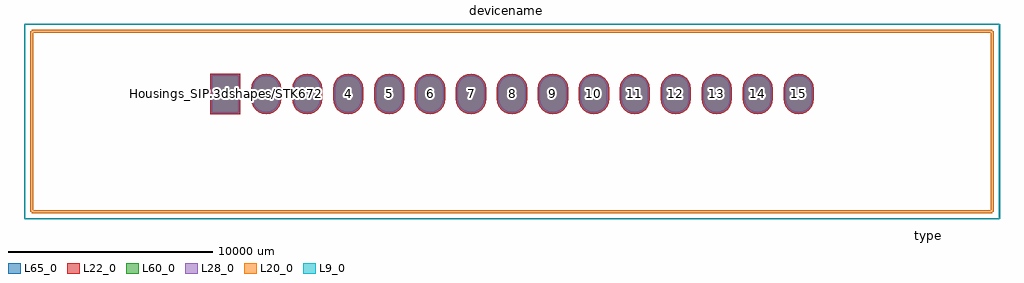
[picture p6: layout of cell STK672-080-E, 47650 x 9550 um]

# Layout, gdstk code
import gdstk
lib = gdstk.Library(unit=1e-6, precision=1e-09)
def R(c, l, rs):  # rectangles x0, y0, x1, y1
    for r in rs: c.add(gdstk.rectangle(r[:2], r[2:], *l))
def P(c, l, *ps):  # polygons
    for p in ps: c.add(gdstk.Polygon(p, *l))
L9_0 = (9, 0)
L20_0 = (20, 0)
L22_0 = (22, 0)
L28_0 = (28, 0)
L60_0 = (60, 0)
L65_0 = (65, 0)

stk672_080_e = lib.new_cell('STK672-080-E')
R(stk672_080_e, L22_0, [(-737,-987,737,987)])
P(stk672_080_e, L22_0, [(28000,-987),(28190.75,-961.887),(28368.5,-888.261),(28521.138,-771.138),(28638.261,-618.5),(28711.887,-440.75),(28737,-250),(28737,250),(28711.887,440.75),(28638.261,618.5),(28521.138,771.138),(28368.5,888.261),(28190.75,961.887),(28000,987),(27809.25,961.887),(27631.5,888.261),(27478.862,771.138),(27361.739,618.5),(27288.113,440.75),(27263,250),(27263,-250),(27288.113,-440.75),(27361.739,-618.5),(27478.862,-771.138),(27631.5,-888.261),(27809.25,-961.887)],
  [(26000,-987),(26190.75,-961.887),(26368.5,-888.261),(26521.138,-771.138),(26638.261,-618.5),(26711.887,-440.75),(26737,-250),(26737,250),(26711.887,440.75),(26638.261,618.5),(26521.138,771.138),(26368.5,888.261),(26190.75,961.887),(26000,987),(25809.25,961.887),(25631.5,888.261),(25478.862,771.138),(25361.739,618.5),(25288.113,440.75),(25263,250),(25263,-250),(25288.113,-440.75),(25361.739,-618.5),(25478.862,-771.138),(25631.5,-888.261),(25809.25,-961.887)],
  [(24000,-987),(24190.75,-961.887),(24368.5,-888.261),(24521.138,-771.138),(24638.261,-618.5),(24711.887,-440.75),(24737,-250),(24737,250),(24711.887,440.75),(24638.261,618.5),(24521.138,771.138),(24368.5,888.261),(24190.75,961.887),(24000,987),(23809.25,961.887),(23631.5,888.261),(23478.862,771.138),(23361.739,618.5),(23288.113,440.75),(23263,250),(23263,-250),(23288.113,-440.75),(23361.739,-618.5),(23478.862,-771.138),(23631.5,-888.261),(23809.25,-961.887)],
  [(22000,-987),(22190.75,-961.887),(22368.5,-888.261),(22521.138,-771.138),(22638.261,-618.5),(22711.887,-440.75),(22737,-250),(22737,250),(22711.887,440.75),(22638.261,618.5),(22521.138,771.138),(22368.5,888.261),(22190.75,961.887),(22000,987),(21809.25,961.887),(21631.5,888.261),(21478.862,771.138),(21361.739,618.5),(21288.113,440.75),(21263,250),(21263,-250),(21288.113,-440.75),(21361.739,-618.5),(21478.862,-771.138),(21631.5,-888.261),(21809.25,-961.887)],
  [(20000,-987),(20190.75,-961.887),(20368.5,-888.261),(20521.138,-771.138),(20638.261,-618.5),(20711.887,-440.75),(20737,-250),(20737,250),(20711.887,440.75),(20638.261,618.5),(20521.138,771.138),(20368.5,888.261),(20190.75,961.887),(20000,987),(19809.25,961.887),(19631.5,888.261),(19478.862,771.138),(19361.739,618.5),(19288.113,440.75),(19263,250),(19263,-250),(19288.113,-440.75),(19361.739,-618.5),(19478.862,-771.138),(19631.5,-888.261),(19809.25,-961.887)],
  [(18000,-987),(18190.75,-961.887),(18368.5,-888.261),(18521.138,-771.138),(18638.261,-618.5),(18711.887,-440.75),(18737,-250),(18737,250),(18711.887,440.75),(18638.261,618.5),(18521.138,771.138),(18368.5,888.261),(18190.75,961.887),(18000,987),(17809.25,961.887),(17631.5,888.261),(17478.862,771.138),(17361.739,618.5),(17288.113,440.75),(17263,250),(17263,-250),(17288.113,-440.75),(17361.739,-618.5),(17478.862,-771.138),(17631.5,-888.261),(17809.25,-961.887)],
  [(16000,-987),(16190.75,-961.887),(16368.5,-888.261),(16521.138,-771.138),(16638.261,-618.5),(16711.887,-440.75),(16737,-250),(16737,250),(16711.887,440.75),(16638.261,618.5),(16521.138,771.138),(16368.5,888.261),(16190.75,961.887),(16000,987),(15809.25,961.887),(15631.5,888.261),(15478.862,771.138),(15361.739,618.5),(15288.113,440.75),(15263,250),(15263,-250),(15288.113,-440.75),(15361.739,-618.5),(15478.862,-771.138),(15631.5,-888.261),(15809.25,-961.887)],
  [(14000,-987),(14190.75,-961.887),(14368.5,-888.261),(14521.138,-771.138),(14638.261,-618.5),(14711.887,-440.75),(14737,-250),(14737,250),(14711.887,440.75),(14638.261,618.5),(14521.138,771.138),(14368.5,888.261),(14190.75,961.887),(14000,987),(13809.25,961.887),(13631.5,888.261),(13478.862,771.138),(13361.739,618.5),(13288.113,440.75),(13263,250),(13263,-250),(13288.113,-440.75),(13361.739,-618.5),(13478.862,-771.138),(13631.5,-888.261),(13809.25,-961.887)],
  [(12000,-987),(12190.75,-961.887),(12368.5,-888.261),(12521.138,-771.138),(12638.261,-618.5),(12711.887,-440.75),(12737,-250),(12737,250),(12711.887,440.75),(12638.261,618.5),(12521.138,771.138),(12368.5,888.261),(12190.75,961.887),(12000,987),(11809.25,961.887),(11631.5,888.261),(11478.862,771.138),(11361.739,618.5),(11288.113,440.75),(11263,250),(11263,-250),(11288.113,-440.75),(11361.739,-618.5),(11478.862,-771.138),(11631.5,-888.261),(11809.25,-961.887)],
  [(10000,-987),(10190.75,-961.887),(10368.5,-888.261),(10521.138,-771.138),(10638.261,-618.5),(10711.887,-440.75),(10737,-250),(10737,250),(10711.887,440.75),(10638.261,618.5),(10521.138,771.138),(10368.5,888.261),(10190.75,961.887),(10000,987),(9809.25,961.887),(9631.5,888.261),(9478.862,771.138),(9361.739,618.5),(9288.113,440.75),(9263,250),(9263,-250),(9288.113,-440.75),(9361.739,-618.5),(9478.862,-771.138),(9631.5,-888.261),(9809.25,-961.887)],
  [(8000,-987),(8190.75,-961.887),(8368.5,-888.261),(8521.138,-771.138),(8638.261,-618.5),(8711.887,-440.75),(8737,-250),(8737,250),(8711.887,440.75),(8638.261,618.5),(8521.138,771.138),(8368.5,888.261),(8190.75,961.887),(8000,987),(7809.25,961.887),(7631.5,888.261),(7478.862,771.138),(7361.739,618.5),(7288.113,440.75),(7263,250),(7263,-250),(7288.113,-440.75),(7361.739,-618.5),(7478.862,-771.138),(7631.5,-888.261),(7809.25,-961.887)],
  [(6000,-987),(6190.75,-961.887),(6368.5,-888.261),(6521.138,-771.138),(6638.261,-618.5),(6711.887,-440.75),(6737,-250),(6737,250),(6711.887,440.75),(6638.261,618.5),(6521.138,771.138),(6368.5,888.261),(6190.75,961.887),(6000,987),(5809.25,961.887),(5631.5,888.261),(5478.862,771.138),(5361.739,618.5),(5288.113,440.75),(5263,250),(5263,-250),(5288.113,-440.75),(5361.739,-618.5),(5478.862,-771.138),(5631.5,-888.261),(5809.25,-961.887)],
  [(4000,-987),(4190.75,-961.887),(4368.5,-888.261),(4521.138,-771.138),(4638.261,-618.5),(4711.887,-440.75),(4737,-250),(4737,250),(4711.887,440.75),(4638.261,618.5),(4521.138,771.138),(4368.5,888.261),(4190.75,961.887),(4000,987),(3809.25,961.887),(3631.5,888.261),(3478.862,771.138),(3361.739,618.5),(3288.113,440.75),(3263,250),(3263,-250),(3288.113,-440.75),(3361.739,-618.5),(3478.862,-771.138),(3631.5,-888.261),(3809.25,-961.887)],
  [(2000,-987),(2190.75,-961.887),(2368.5,-888.261),(2521.138,-771.138),(2638.261,-618.5),(2711.887,-440.75),(2737,-250),(2737,250),(2711.887,440.75),(2638.261,618.5),(2521.138,771.138),(2368.5,888.261),(2190.75,961.887),(2000,987),(1809.25,961.887),(1631.5,888.261),(1478.862,771.138),(1361.739,618.5),(1288.113,440.75),(1263,250),(1263,-250),(1288.113,-440.75),(1361.739,-618.5),(1478.862,-771.138),(1631.5,-888.261),(1809.25,-961.887)])
R(stk672_080_e, L28_0, [(-662,-912,662,912)])
P(stk672_080_e, L28_0, [(28000,-912),(28171.338,-889.443),(28331,-823.309),(28468.105,-718.105),(28573.309,-581),(28639.443,-421.338),(28662,-250),(28662,250),(28639.443,421.338),(28573.309,581),(28468.105,718.105),(28331,823.309),(28171.338,889.443),(28000,912),(27828.662,889.443),(27669,823.309),(27531.895,718.105),(27426.691,581),(27360.557,421.338),(27338,250),(27338,-250),(27360.557,-421.338),(27426.691,-581),(27531.895,-718.105),(27669,-823.309),(27828.662,-889.443)],
  [(26000,-912),(26171.338,-889.443),(26331,-823.309),(26468.105,-718.105),(26573.309,-581),(26639.443,-421.338),(26662,-250),(26662,250),(26639.443,421.338),(26573.309,581),(26468.105,718.105),(26331,823.309),(26171.338,889.443),(26000,912),(25828.662,889.443),(25669,823.309),(25531.895,718.105),(25426.691,581),(25360.557,421.338),(25338,250),(25338,-250),(25360.557,-421.338),(25426.691,-581),(25531.895,-718.105),(25669,-823.309),(25828.662,-889.443)],
  [(24000,-912),(24171.338,-889.443),(24331,-823.309),(24468.105,-718.105),(24573.309,-581),(24639.443,-421.338),(24662,-250),(24662,250),(24639.443,421.338),(24573.309,581),(24468.105,718.105),(24331,823.309),(24171.338,889.443),(24000,912),(23828.662,889.443),(23669,823.309),(23531.895,718.105),(23426.691,581),(23360.557,421.338),(23338,250),(23338,-250),(23360.557,-421.338),(23426.691,-581),(23531.895,-718.105),(23669,-823.309),(23828.662,-889.443)],
  [(22000,-912),(22171.338,-889.443),(22331,-823.309),(22468.105,-718.105),(22573.309,-581),(22639.443,-421.338),(22662,-250),(22662,250),(22639.443,421.338),(22573.309,581),(22468.105,718.105),(22331,823.309),(22171.338,889.443),(22000,912),(21828.662,889.443),(21669,823.309),(21531.895,718.105),(21426.691,581),(21360.557,421.338),(21338,250),(21338,-250),(21360.557,-421.338),(21426.691,-581),(21531.895,-718.105),(21669,-823.309),(21828.662,-889.443)],
  [(20000,-912),(20171.338,-889.443),(20331,-823.309),(20468.105,-718.105),(20573.309,-581),(20639.443,-421.338),(20662,-250),(20662,250),(20639.443,421.338),(20573.309,581),(20468.105,718.105),(20331,823.309),(20171.338,889.443),(20000,912),(19828.662,889.443),(19669,823.309),(19531.895,718.105),(19426.691,581),(19360.557,421.338),(19338,250),(19338,-250),(19360.557,-421.338),(19426.691,-581),(19531.895,-718.105),(19669,-823.309),(19828.662,-889.443)],
  [(18000,-912),(18171.338,-889.443),(18331,-823.309),(18468.105,-718.105),(18573.309,-581),(18639.443,-421.338),(18662,-250),(18662,250),(18639.443,421.338),(18573.309,581),(18468.105,718.105),(18331,823.309),(18171.338,889.443),(18000,912),(17828.662,889.443),(17669,823.309),(17531.895,718.105),(17426.691,581),(17360.557,421.338),(17338,250),(17338,-250),(17360.557,-421.338),(17426.691,-581),(17531.895,-718.105),(17669,-823.309),(17828.662,-889.443)],
  [(16000,-912),(16171.338,-889.443),(16331,-823.309),(16468.105,-718.105),(16573.309,-581),(16639.443,-421.338),(16662,-250),(16662,250),(16639.443,421.338),(16573.309,581),(16468.105,718.105),(16331,823.309),(16171.338,889.443),(16000,912),(15828.662,889.443),(15669,823.309),(15531.895,718.105),(15426.691,581),(15360.557,421.338),(15338,250),(15338,-250),(15360.557,-421.338),(15426.691,-581),(15531.895,-718.105),(15669,-823.309),(15828.662,-889.443)],
  [(14000,-912),(14171.338,-889.443),(14331,-823.309),(14468.105,-718.105),(14573.309,-581),(14639.443,-421.338),(14662,-250),(14662,250),(14639.443,421.338),(14573.309,581),(14468.105,718.105),(14331,823.309),(14171.338,889.443),(14000,912),(13828.662,889.443),(13669,823.309),(13531.895,718.105),(13426.691,581),(13360.557,421.338),(13338,250),(13338,-250),(13360.557,-421.338),(13426.691,-581),(13531.895,-718.105),(13669,-823.309),(13828.662,-889.443)],
  [(12000,-912),(12171.338,-889.443),(12331,-823.309),(12468.105,-718.105),(12573.309,-581),(12639.443,-421.338),(12662,-250),(12662,250),(12639.443,421.338),(12573.309,581),(12468.105,718.105),(12331,823.309),(12171.338,889.443),(12000,912),(11828.662,889.443),(11669,823.309),(11531.895,718.105),(11426.691,581),(11360.557,421.338),(11338,250),(11338,-250),(11360.557,-421.338),(11426.691,-581),(11531.895,-718.105),(11669,-823.309),(11828.662,-889.443)],
  [(10000,-912),(10171.338,-889.443),(10331,-823.309),(10468.105,-718.105),(10573.309,-581),(10639.443,-421.338),(10662,-250),(10662,250),(10639.443,421.338),(10573.309,581),(10468.105,718.105),(10331,823.309),(10171.338,889.443),(10000,912),(9828.662,889.443),(9669,823.309),(9531.895,718.105),(9426.691,581),(9360.557,421.338),(9338,250),(9338,-250),(9360.557,-421.338),(9426.691,-581),(9531.895,-718.105),(9669,-823.309),(9828.662,-889.443)],
  [(8000,-912),(8171.338,-889.443),(8331,-823.309),(8468.105,-718.105),(8573.309,-581),(8639.443,-421.338),(8662,-250),(8662,250),(8639.443,421.338),(8573.309,581),(8468.105,718.105),(8331,823.309),(8171.338,889.443),(8000,912),(7828.662,889.443),(7669,823.309),(7531.895,718.105),(7426.691,581),(7360.557,421.338),(7338,250),(7338,-250),(7360.557,-421.338),(7426.691,-581),(7531.895,-718.105),(7669,-823.309),(7828.662,-889.443)],
  [(6000,-912),(6171.338,-889.443),(6331,-823.309),(6468.105,-718.105),(6573.309,-581),(6639.443,-421.338),(6662,-250),(6662,250),(6639.443,421.338),(6573.309,581),(6468.105,718.105),(6331,823.309),(6171.338,889.443),(6000,912),(5828.662,889.443),(5669,823.309),(5531.895,718.105),(5426.691,581),(5360.557,421.338),(5338,250),(5338,-250),(5360.557,-421.338),(5426.691,-581),(5531.895,-718.105),(5669,-823.309),(5828.662,-889.443)],
  [(4000,-912),(4171.338,-889.443),(4331,-823.309),(4468.105,-718.105),(4573.309,-581),(4639.443,-421.338),(4662,-250),(4662,250),(4639.443,421.338),(4573.309,581),(4468.105,718.105),(4331,823.309),(4171.338,889.443),(4000,912),(3828.662,889.443),(3669,823.309),(3531.895,718.105),(3426.691,581),(3360.557,421.338),(3338,250),(3338,-250),(3360.557,-421.338),(3426.691,-581),(3531.895,-718.105),(3669,-823.309),(3828.662,-889.443)],
  [(2000,-912),(2171.338,-889.443),(2331,-823.309),(2468.105,-718.105),(2573.309,-581),(2639.443,-421.338),(2662,-250),(2662,250),(2639.443,421.338),(2573.309,581),(2468.105,718.105),(2331,823.309),(2171.338,889.443),(2000,912),(1828.662,889.443),(1669,823.309),(1531.895,718.105),(1426.691,581),(1360.557,421.338),(1338,250),(1338,-250),(1360.557,-421.338),(1426.691,-581),(1531.895,-718.105),(1669,-823.309),(1828.662,-889.443)])
R(stk672_080_e, L60_0, [(-662,-912,662,912)])
P(stk672_080_e, L60_0, [(28000,-912),(28171.338,-889.443),(28331,-823.309),(28468.105,-718.105),(28573.309,-581),(28639.443,-421.338),(28662,-250),(28662,250),(28639.443,421.338),(28573.309,581),(28468.105,718.105),(28331,823.309),(28171.338,889.443),(28000,912),(27828.662,889.443),(27669,823.309),(27531.895,718.105),(27426.691,581),(27360.557,421.338),(27338,250),(27338,-250),(27360.557,-421.338),(27426.691,-581),(27531.895,-718.105),(27669,-823.309),(27828.662,-889.443)],
  [(26000,-912),(26171.338,-889.443),(26331,-823.309),(26468.105,-718.105),(26573.309,-581),(26639.443,-421.338),(26662,-250),(26662,250),(26639.443,421.338),(26573.309,581),(26468.105,718.105),(26331,823.309),(26171.338,889.443),(26000,912),(25828.662,889.443),(25669,823.309),(25531.895,718.105),(25426.691,581),(25360.557,421.338),(25338,250),(25338,-250),(25360.557,-421.338),(25426.691,-581),(25531.895,-718.105),(25669,-823.309),(25828.662,-889.443)],
  [(24000,-912),(24171.338,-889.443),(24331,-823.309),(24468.105,-718.105),(24573.309,-581),(24639.443,-421.338),(24662,-250),(24662,250),(24639.443,421.338),(24573.309,581),(24468.105,718.105),(24331,823.309),(24171.338,889.443),(24000,912),(23828.662,889.443),(23669,823.309),(23531.895,718.105),(23426.691,581),(23360.557,421.338),(23338,250),(23338,-250),(23360.557,-421.338),(23426.691,-581),(23531.895,-718.105),(23669,-823.309),(23828.662,-889.443)],
  [(22000,-912),(22171.338,-889.443),(22331,-823.309),(22468.105,-718.105),(22573.309,-581),(22639.443,-421.338),(22662,-250),(22662,250),(22639.443,421.338),(22573.309,581),(22468.105,718.105),(22331,823.309),(22171.338,889.443),(22000,912),(21828.662,889.443),(21669,823.309),(21531.895,718.105),(21426.691,581),(21360.557,421.338),(21338,250),(21338,-250),(21360.557,-421.338),(21426.691,-581),(21531.895,-718.105),(21669,-823.309),(21828.662,-889.443)],
  [(20000,-912),(20171.338,-889.443),(20331,-823.309),(20468.105,-718.105),(20573.309,-581),(20639.443,-421.338),(20662,-250),(20662,250),(20639.443,421.338),(20573.309,581),(20468.105,718.105),(20331,823.309),(20171.338,889.443),(20000,912),(19828.662,889.443),(19669,823.309),(19531.895,718.105),(19426.691,581),(19360.557,421.338),(19338,250),(19338,-250),(19360.557,-421.338),(19426.691,-581),(19531.895,-718.105),(19669,-823.309),(19828.662,-889.443)],
  [(18000,-912),(18171.338,-889.443),(18331,-823.309),(18468.105,-718.105),(18573.309,-581),(18639.443,-421.338),(18662,-250),(18662,250),(18639.443,421.338),(18573.309,581),(18468.105,718.105),(18331,823.309),(18171.338,889.443),(18000,912),(17828.662,889.443),(17669,823.309),(17531.895,718.105),(17426.691,581),(17360.557,421.338),(17338,250),(17338,-250),(17360.557,-421.338),(17426.691,-581),(17531.895,-718.105),(17669,-823.309),(17828.662,-889.443)],
  [(16000,-912),(16171.338,-889.443),(16331,-823.309),(16468.105,-718.105),(16573.309,-581),(16639.443,-421.338),(16662,-250),(16662,250),(16639.443,421.338),(16573.309,581),(16468.105,718.105),(16331,823.309),(16171.338,889.443),(16000,912),(15828.662,889.443),(15669,823.309),(15531.895,718.105),(15426.691,581),(15360.557,421.338),(15338,250),(15338,-250),(15360.557,-421.338),(15426.691,-581),(15531.895,-718.105),(15669,-823.309),(15828.662,-889.443)],
  [(14000,-912),(14171.338,-889.443),(14331,-823.309),(14468.105,-718.105),(14573.309,-581),(14639.443,-421.338),(14662,-250),(14662,250),(14639.443,421.338),(14573.309,581),(14468.105,718.105),(14331,823.309),(14171.338,889.443),(14000,912),(13828.662,889.443),(13669,823.309),(13531.895,718.105),(13426.691,581),(13360.557,421.338),(13338,250),(13338,-250),(13360.557,-421.338),(13426.691,-581),(13531.895,-718.105),(13669,-823.309),(13828.662,-889.443)],
  [(12000,-912),(12171.338,-889.443),(12331,-823.309),(12468.105,-718.105),(12573.309,-581),(12639.443,-421.338),(12662,-250),(12662,250),(12639.443,421.338),(12573.309,581),(12468.105,718.105),(12331,823.309),(12171.338,889.443),(12000,912),(11828.662,889.443),(11669,823.309),(11531.895,718.105),(11426.691,581),(11360.557,421.338),(11338,250),(11338,-250),(11360.557,-421.338),(11426.691,-581),(11531.895,-718.105),(11669,-823.309),(11828.662,-889.443)],
  [(10000,-912),(10171.338,-889.443),(10331,-823.309),(10468.105,-718.105),(10573.309,-581),(10639.443,-421.338),(10662,-250),(10662,250),(10639.443,421.338),(10573.309,581),(10468.105,718.105),(10331,823.309),(10171.338,889.443),(10000,912),(9828.662,889.443),(9669,823.309),(9531.895,718.105),(9426.691,581),(9360.557,421.338),(9338,250),(9338,-250),(9360.557,-421.338),(9426.691,-581),(9531.895,-718.105),(9669,-823.309),(9828.662,-889.443)],
  [(8000,-912),(8171.338,-889.443),(8331,-823.309),(8468.105,-718.105),(8573.309,-581),(8639.443,-421.338),(8662,-250),(8662,250),(8639.443,421.338),(8573.309,581),(8468.105,718.105),(8331,823.309),(8171.338,889.443),(8000,912),(7828.662,889.443),(7669,823.309),(7531.895,718.105),(7426.691,581),(7360.557,421.338),(7338,250),(7338,-250),(7360.557,-421.338),(7426.691,-581),(7531.895,-718.105),(7669,-823.309),(7828.662,-889.443)],
  [(6000,-912),(6171.338,-889.443),(6331,-823.309),(6468.105,-718.105),(6573.309,-581),(6639.443,-421.338),(6662,-250),(6662,250),(6639.443,421.338),(6573.309,581),(6468.105,718.105),(6331,823.309),(6171.338,889.443),(6000,912),(5828.662,889.443),(5669,823.309),(5531.895,718.105),(5426.691,581),(5360.557,421.338),(5338,250),(5338,-250),(5360.557,-421.338),(5426.691,-581),(5531.895,-718.105),(5669,-823.309),(5828.662,-889.443)],
  [(4000,-912),(4171.338,-889.443),(4331,-823.309),(4468.105,-718.105),(4573.309,-581),(4639.443,-421.338),(4662,-250),(4662,250),(4639.443,421.338),(4573.309,581),(4468.105,718.105),(4331,823.309),(4171.338,889.443),(4000,912),(3828.662,889.443),(3669,823.309),(3531.895,718.105),(3426.691,581),(3360.557,421.338),(3338,250),(3338,-250),(3360.557,-421.338),(3426.691,-581),(3531.895,-718.105),(3669,-823.309),(3828.662,-889.443)],
  [(2000,-912),(2171.338,-889.443),(2331,-823.309),(2468.105,-718.105),(2573.309,-581),(2639.443,-421.338),(2662,-250),(2662,250),(2639.443,421.338),(2573.309,581),(2468.105,718.105),(2331,823.309),(2171.338,889.443),(2000,912),(1828.662,889.443),(1669,823.309),(1531.895,718.105),(1426.691,581),(1360.557,421.338),(1338,250),(1338,-250),(1360.557,-421.338),(1426.691,-581),(1531.895,-718.105),(1669,-823.309),(1828.662,-889.443)])
R(stk672_080_e, L65_0, [(-737,-987,737,987)])
P(stk672_080_e, L65_0, [(28000,-987),(28190.75,-961.887),(28368.5,-888.261),(28521.138,-771.138),(28638.261,-618.5),(28711.887,-440.75),(28737,-250),(28737,250),(28711.887,440.75),(28638.261,618.5),(28521.138,771.138),(28368.5,888.261),(28190.75,961.887),(28000,987),(27809.25,961.887),(27631.5,888.261),(27478.862,771.138),(27361.739,618.5),(27288.113,440.75),(27263,250),(27263,-250),(27288.113,-440.75),(27361.739,-618.5),(27478.862,-771.138),(27631.5,-888.261),(27809.25,-961.887)],
  [(26000,-987),(26190.75,-961.887),(26368.5,-888.261),(26521.138,-771.138),(26638.261,-618.5),(26711.887,-440.75),(26737,-250),(26737,250),(26711.887,440.75),(26638.261,618.5),(26521.138,771.138),(26368.5,888.261),(26190.75,961.887),(26000,987),(25809.25,961.887),(25631.5,888.261),(25478.862,771.138),(25361.739,618.5),(25288.113,440.75),(25263,250),(25263,-250),(25288.113,-440.75),(25361.739,-618.5),(25478.862,-771.138),(25631.5,-888.261),(25809.25,-961.887)],
  [(24000,-987),(24190.75,-961.887),(24368.5,-888.261),(24521.138,-771.138),(24638.261,-618.5),(24711.887,-440.75),(24737,-250),(24737,250),(24711.887,440.75),(24638.261,618.5),(24521.138,771.138),(24368.5,888.261),(24190.75,961.887),(24000,987),(23809.25,961.887),(23631.5,888.261),(23478.862,771.138),(23361.739,618.5),(23288.113,440.75),(23263,250),(23263,-250),(23288.113,-440.75),(23361.739,-618.5),(23478.862,-771.138),(23631.5,-888.261),(23809.25,-961.887)],
  [(22000,-987),(22190.75,-961.887),(22368.5,-888.261),(22521.138,-771.138),(22638.261,-618.5),(22711.887,-440.75),(22737,-250),(22737,250),(22711.887,440.75),(22638.261,618.5),(22521.138,771.138),(22368.5,888.261),(22190.75,961.887),(22000,987),(21809.25,961.887),(21631.5,888.261),(21478.862,771.138),(21361.739,618.5),(21288.113,440.75),(21263,250),(21263,-250),(21288.113,-440.75),(21361.739,-618.5),(21478.862,-771.138),(21631.5,-888.261),(21809.25,-961.887)],
  [(20000,-987),(20190.75,-961.887),(20368.5,-888.261),(20521.138,-771.138),(20638.261,-618.5),(20711.887,-440.75),(20737,-250),(20737,250),(20711.887,440.75),(20638.261,618.5),(20521.138,771.138),(20368.5,888.261),(20190.75,961.887),(20000,987),(19809.25,961.887),(19631.5,888.261),(19478.862,771.138),(19361.739,618.5),(19288.113,440.75),(19263,250),(19263,-250),(19288.113,-440.75),(19361.739,-618.5),(19478.862,-771.138),(19631.5,-888.261),(19809.25,-961.887)],
  [(18000,-987),(18190.75,-961.887),(18368.5,-888.261),(18521.138,-771.138),(18638.261,-618.5),(18711.887,-440.75),(18737,-250),(18737,250),(18711.887,440.75),(18638.261,618.5),(18521.138,771.138),(18368.5,888.261),(18190.75,961.887),(18000,987),(17809.25,961.887),(17631.5,888.261),(17478.862,771.138),(17361.739,618.5),(17288.113,440.75),(17263,250),(17263,-250),(17288.113,-440.75),(17361.739,-618.5),(17478.862,-771.138),(17631.5,-888.261),(17809.25,-961.887)],
  [(16000,-987),(16190.75,-961.887),(16368.5,-888.261),(16521.138,-771.138),(16638.261,-618.5),(16711.887,-440.75),(16737,-250),(16737,250),(16711.887,440.75),(16638.261,618.5),(16521.138,771.138),(16368.5,888.261),(16190.75,961.887),(16000,987),(15809.25,961.887),(15631.5,888.261),(15478.862,771.138),(15361.739,618.5),(15288.113,440.75),(15263,250),(15263,-250),(15288.113,-440.75),(15361.739,-618.5),(15478.862,-771.138),(15631.5,-888.261),(15809.25,-961.887)],
  [(14000,-987),(14190.75,-961.887),(14368.5,-888.261),(14521.138,-771.138),(14638.261,-618.5),(14711.887,-440.75),(14737,-250),(14737,250),(14711.887,440.75),(14638.261,618.5),(14521.138,771.138),(14368.5,888.261),(14190.75,961.887),(14000,987),(13809.25,961.887),(13631.5,888.261),(13478.862,771.138),(13361.739,618.5),(13288.113,440.75),(13263,250),(13263,-250),(13288.113,-440.75),(13361.739,-618.5),(13478.862,-771.138),(13631.5,-888.261),(13809.25,-961.887)],
  [(12000,-987),(12190.75,-961.887),(12368.5,-888.261),(12521.138,-771.138),(12638.261,-618.5),(12711.887,-440.75),(12737,-250),(12737,250),(12711.887,440.75),(12638.261,618.5),(12521.138,771.138),(12368.5,888.261),(12190.75,961.887),(12000,987),(11809.25,961.887),(11631.5,888.261),(11478.862,771.138),(11361.739,618.5),(11288.113,440.75),(11263,250),(11263,-250),(11288.113,-440.75),(11361.739,-618.5),(11478.862,-771.138),(11631.5,-888.261),(11809.25,-961.887)],
  [(10000,-987),(10190.75,-961.887),(10368.5,-888.261),(10521.138,-771.138),(10638.261,-618.5),(10711.887,-440.75),(10737,-250),(10737,250),(10711.887,440.75),(10638.261,618.5),(10521.138,771.138),(10368.5,888.261),(10190.75,961.887),(10000,987),(9809.25,961.887),(9631.5,888.261),(9478.862,771.138),(9361.739,618.5),(9288.113,440.75),(9263,250),(9263,-250),(9288.113,-440.75),(9361.739,-618.5),(9478.862,-771.138),(9631.5,-888.261),(9809.25,-961.887)],
  [(8000,-987),(8190.75,-961.887),(8368.5,-888.261),(8521.138,-771.138),(8638.261,-618.5),(8711.887,-440.75),(8737,-250),(8737,250),(8711.887,440.75),(8638.261,618.5),(8521.138,771.138),(8368.5,888.261),(8190.75,961.887),(8000,987),(7809.25,961.887),(7631.5,888.261),(7478.862,771.138),(7361.739,618.5),(7288.113,440.75),(7263,250),(7263,-250),(7288.113,-440.75),(7361.739,-618.5),(7478.862,-771.138),(7631.5,-888.261),(7809.25,-961.887)],
  [(6000,-987),(6190.75,-961.887),(6368.5,-888.261),(6521.138,-771.138),(6638.261,-618.5),(6711.887,-440.75),(6737,-250),(6737,250),(6711.887,440.75),(6638.261,618.5),(6521.138,771.138),(6368.5,888.261),(6190.75,961.887),(6000,987),(5809.25,961.887),(5631.5,888.261),(5478.862,771.138),(5361.739,618.5),(5288.113,440.75),(5263,250),(5263,-250),(5288.113,-440.75),(5361.739,-618.5),(5478.862,-771.138),(5631.5,-888.261),(5809.25,-961.887)],
  [(4000,-987),(4190.75,-961.887),(4368.5,-888.261),(4521.138,-771.138),(4638.261,-618.5),(4711.887,-440.75),(4737,-250),(4737,250),(4711.887,440.75),(4638.261,618.5),(4521.138,771.138),(4368.5,888.261),(4190.75,961.887),(4000,987),(3809.25,961.887),(3631.5,888.261),(3478.862,771.138),(3361.739,618.5),(3288.113,440.75),(3263,250),(3263,-250),(3288.113,-440.75),(3361.739,-618.5),(3478.862,-771.138),(3631.5,-888.261),(3809.25,-961.887)],
  [(2000,-987),(2190.75,-961.887),(2368.5,-888.261),(2521.138,-771.138),(2638.261,-618.5),(2711.887,-440.75),(2737,-250),(2737,250),(2711.887,440.75),(2638.261,618.5),(2521.138,771.138),(2368.5,888.261),(2190.75,961.887),(2000,987),(1809.25,961.887),(1631.5,888.261),(1478.862,771.138),(1361.739,618.5),(1288.113,440.75),(1263,250),(1263,-250),(1288.113,-440.75),(1361.739,-618.5),(1478.862,-771.138),(1631.5,-888.261),(1809.25,-961.887)])
stk672_080_e.add(gdstk.FlexPath([(-9450,-5750),(-9450,3050)], 149.998, ends="flush", simple_path=True, layer=20, datatype=0))  # L20_0
stk672_080_e.add(gdstk.FlexPath([(37450,-5750),(-9450,-5750)], 149.998, ends="flush", simple_path=True, layer=20, datatype=0))  # L20_0
stk672_080_e.add(gdstk.FlexPath([(37450,3050),(37450,-5750)], 149.998, ends="flush", simple_path=True, layer=20, datatype=0))  # L20_0
stk672_080_e.add(gdstk.FlexPath([(-9450,3050),(37450,3050)], 149.998, ends="flush", simple_path=True, layer=20, datatype=0))  # L20_0
stk672_080_e.add(gdstk.FlexPath([(37800,3400),(37800,-6100)], 50, ends="flush", simple_path=True, layer=9, datatype=0))  # L9_0
stk672_080_e.add(gdstk.FlexPath([(-9800,3400),(37800,3400)], 50, ends="flush", simple_path=True, layer=9, datatype=0))  # L9_0
stk672_080_e.add(gdstk.FlexPath([(-9800,-6100),(37800,-6100)], 50, ends="flush", simple_path=True, layer=9, datatype=0))  # L9_0
stk672_080_e.add(gdstk.FlexPath([(-9800,3400),(-9800,-6100)], 50, ends="flush", simple_path=True, layer=9, datatype=0))  # L9_0
stk672_080_e.add(gdstk.Label('Housings_SIP.3dshapes/STK672-080-E.wrl', (0,0), layer=12, texttype=0))
stk672_080_e.add(gdstk.Label('15', (28000,0), layer=28, texttype=0))
stk672_080_e.add(gdstk.Label('14', (26000,0), layer=28, texttype=0))
stk672_080_e.add(gdstk.Label('13', (24000,0), layer=28, texttype=0))
stk672_080_e.add(gdstk.Label('12', (22000,0), layer=28, texttype=0))
stk672_080_e.add(gdstk.Label('11', (20000,0), layer=28, texttype=0))
stk672_080_e.add(gdstk.Label('10', (18000,0), layer=28, texttype=0))
stk672_080_e.add(gdstk.Label('9', (16000,0), layer=28, texttype=0))
stk672_080_e.add(gdstk.Label('8', (14000,0), layer=28, texttype=0))
stk672_080_e.add(gdstk.Label('7', (12000,0), layer=28, texttype=0))
stk672_080_e.add(gdstk.Label('6', (10000,0), layer=28, texttype=0))
stk672_080_e.add(gdstk.Label('5', (8000,0), layer=28, texttype=0))
stk672_080_e.add(gdstk.Label('4', (6000,0), layer=28, texttype=0))
stk672_080_e.add(gdstk.Label('3', (4000,0), layer=28, texttype=0))
stk672_080_e.add(gdstk.Label('2', (2000,0), layer=28, texttype=0))
stk672_080_e.add(gdstk.Label('1', (0,0), layer=28, texttype=0))
stk672_080_e.add(gdstk.Label('type', (34320,-7112), layer=9, texttype=0))
stk672_080_e.add(gdstk.Label('devicename', (13716,4064), layer=9, texttype=0))

lib.write_gds('STK672-080-E.gds')
